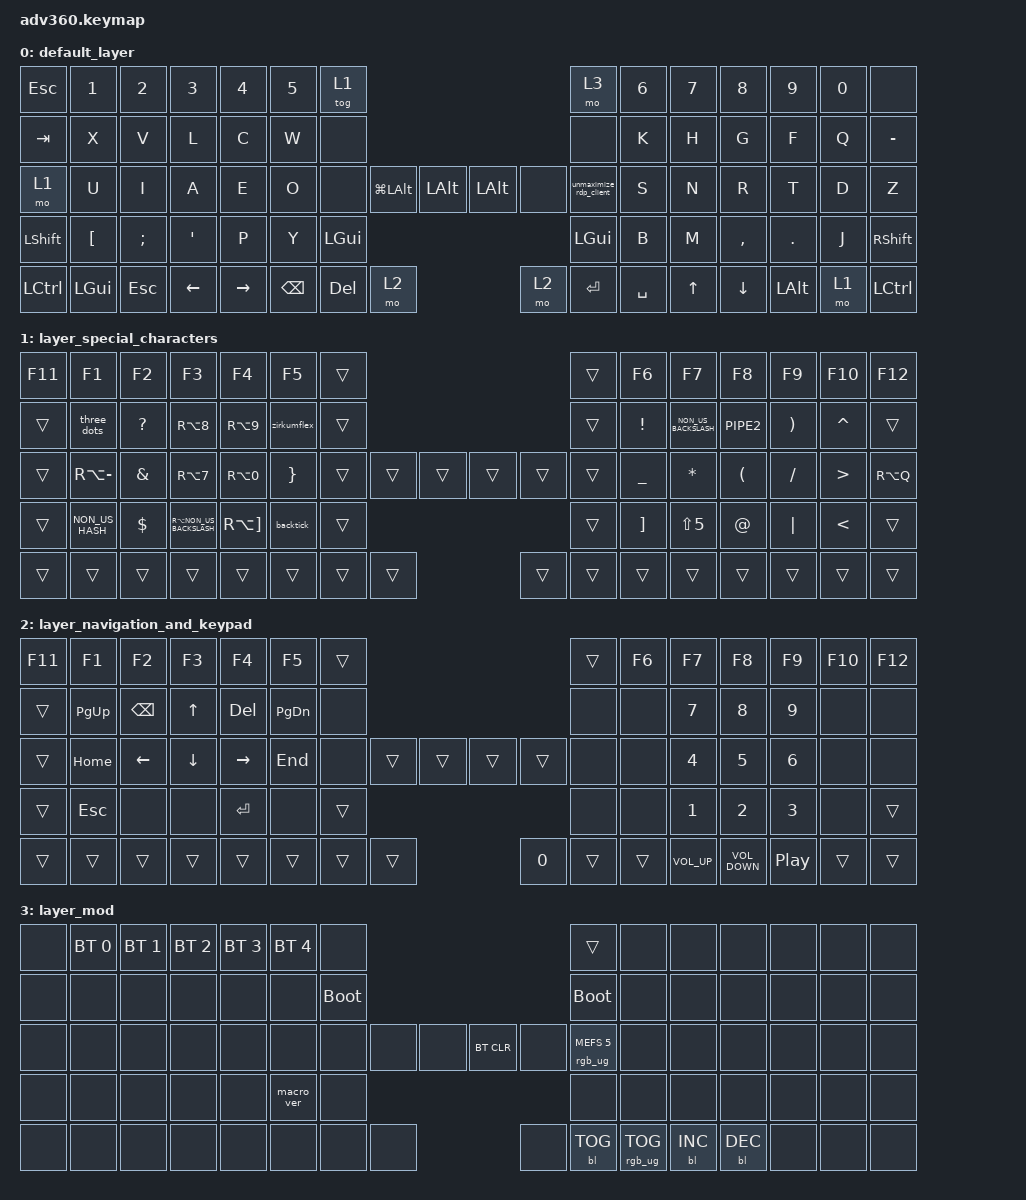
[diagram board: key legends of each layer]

/*
 * Copyright (c) 2020 The ZMK Contributors
 *
 * SPDX-License-Identifier: MIT
 */


/* THIS FILE WAS GENERATED!
 *
 * This file was generated automatically. You may or may not want to
 * edit it directly.
 */

#include <behaviors.dtsi>
#include <dt-bindings/zmk/keys.h>
#include <dt-bindings/zmk/bt.h>
#include <dt-bindings/zmk/rgb.h>
#include <dt-bindings/zmk/backlight.h>

/ {
  behaviors {
    #include "macros.dtsi"
    #include "version.dtsi"

    hm: homerow_mods {
        compatible = "zmk,behavior-hold-tap";
        label = "HOMEROW_MODS";
        #binding-cells = <2>;
        tapping-term-ms = <200>;
        quick_tap_ms = <175>;
        flavor = "tap-preferred";
        bindings = <&kp>, <&kp>;
    };
  };

    keymap {
        compatible = "zmk,keymap";


        default_layer {
            bindings = <

             // ╭──────────────────────┬──────────────────────┬──────────────────────┬──────────────────────┬──────────────────────┬──────────────────────┬──────────────────────╮                                                                                                          ╭──────────────────────┬──────────────────────┬──────────────────────┬──────────────────────┬──────────────────────┬──────────────────────┬──────────────────────╮
                         &kp ESC                &kp N1                 &kp N2                  &kp N3                &kp N4                &kp N5                  &tog 1                                                                                                                            &mo 3                  &kp N6                  &kp N7                &kp N8                 &kp N9                  &kp N0               &none
             // ├──────────────────────┼──────────────────────┼──────────────────────┼──────────────────────┼──────────────────────┼──────────────────────┼──────────────────────┤                                                                                                          ├──────────────────────┼──────────────────────┼──────────────────────┼──────────────────────┼──────────────────────┼──────────────────────┼──────────────────────┤
                           &kp TAB              &kp X                   &kp V                    &kp L                &kp C                   &kp W               &none                                                                                                                               &none                    &kp K                 &kp H                &kp G                    &kp F                   &kp Q            &kp MINUS
             // ├──────────────────────┼──────────────────────┼──────────────────────┼──────────────────────┼──────────────────────┼──────────────────────┼──────────────────────┤──────────────────────┬──────────────────────╮              ╭──────────────────────┬──────────────────────├──────────────────────┼──────────────────────┼──────────────────────┼──────────────────────┼──────────────────────┼──────────────────────┼──────────────────────┤
                           &mo 1                 &kp U                   &kp I                   &kp A              &kp E                    &kp O                &none                &kp LG(LALT)             &kp LALT                                 &kp LALT                 &none         &unmaximize_rdp_client           &kp S                  &kp N              &kp R                    &kp T                   &kp D               &kp Z
             // ├──────────────────────┼──────────────────────┼──────────────────────┼──────────────────────┼──────────────────────┼──────────────────────┼──────────────────────┤──────────────────────┤──────────────────────┤              ├──────────────────────┤──────────────────────┤──────────────────────┼──────────────────────┼──────────────────────┼──────────────────────┼──────────────────────┼──────────────────────┼──────────────────────┤
                      &kp LSHFT             &kp LEFT_BRACKET       &kp SEMICOLON             &kp APOS                &kp P                &kp Y                                                                 &kp LGUI                              &kp LGUI                                                              &kp B                   &kp M              &kp COMMA                 &kp DOT                &kp J             &kp RSHFT
             // ├──────────────────────┼──────────────────────┼──────────────────────┼──────────────────────┼──────────────────────┼──────────────────────┼──────────────────────┤──────────────────────┤──────────────────────┤              ├──────────────────────┤──────────────────────┤──────────────────────┼──────────────────────┼──────────────────────┼──────────────────────┼──────────────────────┼──────────────────────┼──────────────────────┤
                      &kp LCTRL                 &kp LGUI              &kp ESC                 &kp LEFT            &kp RIGHT                                          &kp BSPC              &kp DEL              &mo 2                                    &mo 2              &kp ENTER              &kp SPACE                                         &kp UP              &kp DOWN             &kp LALT                   &mo 1               &kp LCTRL
             // ╰──────────────────────┴──────────────────────┴──────────────────────┴──────────────────────┴──────────────────────┴──────────────────────┴──────────────────────┴──────────────────────┴──────────────────────╯              ╰──────────────────────┴──────────────────────┴──────────────────────┴──────────────────────┴──────────────────────┴──────────────────────┴──────────────────────┴──────────────────────┴──────────────────────╯
            >;
        };

        layer_special_characters {
            bindings = <
             // ╭──────────────────────┬──────────────────────┬──────────────────────┬──────────────────────┬──────────────────────┬──────────────────────┬──────────────────────╮                                                                                                          ╭──────────────────────┬──────────────────────┬──────────────────────┬──────────────────────┬──────────────────────┬──────────────────────┬──────────────────────╮
                        &kp F11                 &kp F1                 &kp F2                  &kp F3                &kp F4               &kp F5                     &trans                                                                                                                         &trans                     &kp F6               &kp F7                &kp F8                 &kp F9                 &kp F10             &kp F12
             // ├──────────────────────┼──────────────────────┼──────────────────────┼──────────────────────┼──────────────────────┼──────────────────────┼──────────────────────┤                                                                                                          ├──────────────────────┼──────────────────────┼──────────────────────┼──────────────────────┼──────────────────────┼──────────────────────┼──────────────────────┤
                        &trans              &three_dots            &kp QUESTION           &kp RA(NUMBER_8)      &kp RA(NUMBER_9)         &zirkumflex                &trans                                                                                                                          &trans                &kp EXCLAMATION   &kp NON_US_BACKSLASH        &kp PIPE2        &kp RIGHT_PARENTHESIS      &kp CARET                &trans
             // ├──────────────────────┼──────────────────────┼──────────────────────┼──────────────────────┼──────────────────────┼──────────────────────┼──────────────────────┤──────────────────────┬──────────────────────╮              ╭──────────────────────┬──────────────────────├──────────────────────┼──────────────────────┼──────────────────────┼──────────────────────┼──────────────────────┼──────────────────────┼──────────────────────┤
                        &trans              &kp RA(MINUS)        &kp AMPERSAND            &kp RA(NUMBER_7)      &kp RA(NUMBER_0)        &kp RIGHT_BRACE           &trans                  &trans                  &trans                                &trans                &trans            &trans                  &kp UNDER               &kp STAR            &kp LEFT_PARENTHESIS      &kp SLASH            &kp GREATER_THAN         &kp RA(Q)
             // ├──────────────────────┼──────────────────────┼──────────────────────┼──────────────────────┼──────────────────────┼──────────────────────┼──────────────────────┤──────────────────────┤──────────────────────┤              ├──────────────────────┤──────────────────────┤──────────────────────┼──────────────────────┼──────────────────────┼──────────────────────┼──────────────────────┼──────────────────────┼──────────────────────┤
                       &trans             &kp NON_US_HASH           &kp DOLLAR       &kp RA(NON_US_BACKSLASH) &kp RA(RIGHT_BRACKET)     &backtick                                                                 &trans                                &trans                                                         &kp RIGHT_BRACKET      &kp LS(NUMBER_5)          &kp AT_SIGN              &kp PIPE           &kp LESS_THAN             &trans
             // ├──────────────────────┼──────────────────────┼──────────────────────┼──────────────────────┼──────────────────────┼──────────────────────┼──────────────────────┤──────────────────────┤──────────────────────┤              ├──────────────────────┤──────────────────────┤──────────────────────┼──────────────────────┼──────────────────────┼──────────────────────┼──────────────────────┼──────────────────────┼──────────────────────┤
                        &trans                  &trans                &trans                  &trans                  &trans                                       &trans                 &trans                    &trans                              &trans              &trans                  &trans                                         &trans                   &trans              &trans                &trans                &trans
             // ╰──────────────────────┴──────────────────────┴──────────────────────┴──────────────────────┴──────────────────────┴──────────────────────┴──────────────────────┴──────────────────────┴──────────────────────╯              ╰──────────────────────┴──────────────────────┴──────────────────────┴──────────────────────┴──────────────────────┴──────────────────────┴──────────────────────┴──────────────────────┴──────────────────────╯
            >;
        };

        layer_navigation_and_keypad {
   bindings = <
             // ╭──────────────────────┬──────────────────────┬──────────────────────┬──────────────────────┬──────────────────────┬──────────────────────┬──────────────────────╮                                                                                                          ╭──────────────────────┬──────────────────────┬──────────────────────┬──────────────────────┬──────────────────────┬──────────────────────┬──────────────────────╮
                        &kp F11                 &kp F1                 &kp F2                  &kp F3                &kp F4               &kp F5                     &trans                                                                                                                         &trans                     &kp F6               &kp F7                &kp F8                 &kp F9                 &kp F10             &kp F12
             // ├──────────────────────┼──────────────────────┼──────────────────────┼──────────────────────┼──────────────────────┼──────────────────────┼──────────────────────┤                                                                                                          ├──────────────────────┼──────────────────────┼──────────────────────┼──────────────────────┼──────────────────────┼──────────────────────┼──────────────────────┤
                        &trans               &kp PG_UP                  &kp BSPC               &kp UP                  &kp DEL              &kp PG_DN                   &none                                                                                                                           &none                    &none                 &kp N7                 &kp N8                 &kp N9                &none                   &none
             // ├──────────────────────┼──────────────────────┼──────────────────────┼──────────────────────┼──────────────────────┼──────────────────────┼──────────────────────┤──────────────────────┬──────────────────────╮              ╭──────────────────────┬──────────────────────├──────────────────────┼──────────────────────┼──────────────────────┼──────────────────────┼─────────────────0─────┼──────────────────────┼──────────────────────┤
                        &trans                &kp HOME               &kp LEFT                &kp DOWN             &kp RIGHT              &kp END                     &none                 &trans                  &trans                             &trans                  &trans                 &none                  &none                   &kp N4                 &kp N5                 &kp N6                &none                  &none
             // ├──────────────────────┼──────────────────────┼──────────────────────┼──────────────────────┼──────────────────────┼──────────────────────┼──────────────────────┤──────────────────────┤──────────────────────┤              ├──────────────────────┤──────────────────────┤──────────────────────┼──────────────────────┼──────────────────────┼──────────────────────┼──────────────────────┼──────────────────────┼──────────────────────┤
                        &trans                  &kp ESC               &none                   &none                   &kp ENTER                    &none                                                                &trans                              &none                                                                &none              &kp N1              &kp N2                  &kp N3                 &none                 &trans
             // ├──────────────────────┼──────────────────────┼──────────────────────┼──────────────────────┼──────────────────────┼──────────────────────┼──────────────────────┤──────────────────────┤──────────────────────┤              ├──────────────────────┤──────────────────────┤──────────────────────┼──────────────────────┼──────────────────────┼──────────────────────┼──────────────────────┼──────────────────────┼──────────────────────┤
                        &trans                 &trans                    &trans              &trans                 &trans                                          &trans                &trans                  &trans                             &kp N0                 &trans                   &trans                                    &kp C_VOLUME_UP       &kp C_VOLUME_DOWN     &kp C_PLAY_PAUSE             &trans              &trans
             // ╰──────────────────────┴──────────────────────┴──────────────────────┴──────────────────────┴──────────────────────┴──────────────────────┴──────────────────────┴──────────────────────┴──────────────────────╯              ╰──────────────────────┴──────────────────────┴──────────────────────┴──────────────────────┴──────────────────────┴──────────────────────┴──────────────────────┴──────────────────────┴──────────────────────╯
            >;
        };

        layer_mod {
   bindings = <
             // ╭──────────────────────┬──────────────────────┬──────────────────────┬──────────────────────┬──────────────────────┬──────────────────────┬──────────────────────╮                                                                                                          ╭──────────────────────┬──────────────────────┬──────────────────────┬──────────────────────┬──────────────────────┬──────────────────────┬──────────────────────╮
                        &none                &bt BT_SEL 0            &bt BT_SEL 1          &bt BT_SEL 2           &bt BT_SEL 3            &bt BT_SEL 4              &none                                                                                                                           &trans                  &none                   &none               &none                     &none                 &none                 &none
             // ├──────────────────────┼──────────────────────┼──────────────────────┼──────────────────────┼──────────────────────┼──────────────────────┼──────────────────────┤                                                                                                          ├──────────────────────┼──────────────────────┼──────────────────────┼──────────────────────┼──────────────────────┼──────────────────────┼──────────────────────┤
                        &none                   &none               &none                     &none                 &none                 &none                    &bootloader                                                                                                                   &bootloader                &none                   &none               &none                     &none                 &none                 &none
             // ├──────────────────────┼──────────────────────┼──────────────────────┼──────────────────────┼──────────────────────┼──────────────────────┼──────────────────────┤──────────────────────┬──────────────────────╮              ╭──────────────────────┬──────────────────────├──────────────────────┼──────────────────────┼──────────────────────┼──────────────────────┼──────────────────────┼──────────────────────┼──────────────────────┤
                        &none                   &none               &none                     &none                 &none                 &none                      &none                 &none                 &none                                &bt BT_CLR            &none            &rgb_ug RGB_MEFS_CMD 5         &none                   &none               &none                     &none                 &none                 &none
             // ├──────────────────────┼──────────────────────┼──────────────────────┼──────────────────────┼──────────────────────┼──────────────────────┼──────────────────────┤──────────────────────┤──────────────────────┤              ├──────────────────────┤──────────────────────┤──────────────────────┼──────────────────────┼──────────────────────┼──────────────────────┼──────────────────────┼──────────────────────┼──────────────────────┤
                        &none                   &none               &none                     &none                 &none                 &macro_ver                                                             &none                                  &none                                                               &none                   &none               &none                     &none                 &none                 &none
             // ├──────────────────────┼──────────────────────┼──────────────────────┼──────────────────────┼──────────────────────┼──────────────────────┼──────────────────────┤──────────────────────┤──────────────────────┤              ├──────────────────────┤──────────────────────┤──────────────────────┼──────────────────────┼──────────────────────┼──────────────────────┼──────────────────────┼──────────────────────┼──────────────────────┤
                        &none                   &none               &none                     &none                 &none                                            &none                 &none                 &none                                  &none               &bl BL_TOG           &rgb_ug RGB_TOG                                &bl BL_INC              &bl BL_DEC                &none                 &none                 &none
             // ╰──────────────────────┴──────────────────────┴──────────────────────┴──────────────────────┴──────────────────────┴──────────────────────┴──────────────────────┴──────────────────────┴──────────────────────╯              ╰──────────────────────┴──────────────────────┴──────────────────────┴──────────────────────┴──────────────────────┴──────────────────────┴──────────────────────┴──────────────────────┴──────────────────────╯
            >;
        };
    };
};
